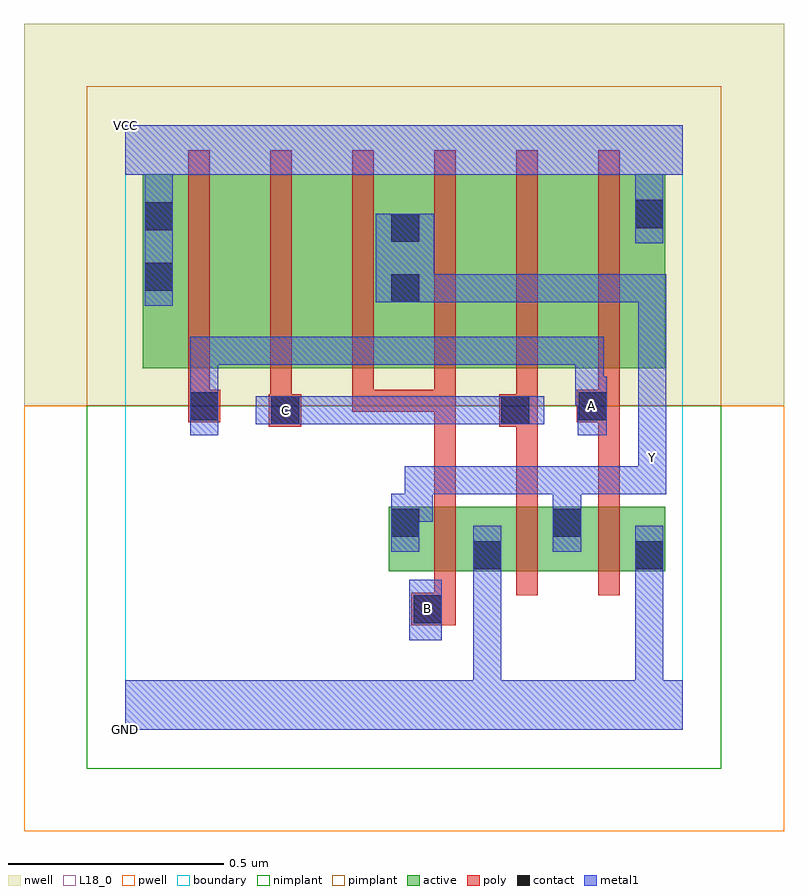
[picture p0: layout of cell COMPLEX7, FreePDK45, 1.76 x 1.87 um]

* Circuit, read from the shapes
.subckt COMPLEX7 A B C GND VCC Y
M1 GND B Y VSUBS nfet w=0.15u l=0.05u
M2 Y C GND VSUBS nfet w=0.15u l=0.05u
M3 GND A Y VSUBS nfet w=0.15u l=0.05u
M4 n1 A VCC n2 pfet w=0.45u l=0.05u
M5 n3 C n1 n2 pfet w=0.45u l=0.05u
M6 Y B n3 n2 pfet w=0.45u l=0.05u
M7 n4 B Y n2 pfet w=0.45u l=0.05u
M8 n5 C n4 n2 pfet w=0.45u l=0.05u
M9 VCC A n5 n2 pfet w=0.45u l=0.05u
.ends

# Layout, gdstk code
import gdstk
lib = gdstk.Library(unit=1e-6, precision=1e-09)
def R(c, l, rs):  # rectangles x0, y0, x1, y1
    for r in rs: c.add(gdstk.rectangle(r[:2], r[2:], *l))
def A(c, l, x, y, w, h, nx, ny, dx, dy):  # array of equal rectangles
    R(c, l, [(x+i*dx, y+j*dy, x+i*dx+w, y+j*dy+h) for i in range(nx) for j in range(ny)])
active = (1, 0)
pwell = (2, 0)
nwell = (3, 0)
nimplant = (4, 0)
pimplant = (5, 0)
poly = (9, 0)
contact = (10, 0)
metal1 = (11, 0)
L18_0 = (18, 0)
boundary = (235, 0)

complex7 = lib.new_cell('COMPLEX7')
R(complex7, active, [(0.61,0.367,0.685,0.517), (0.61,0.367,0.875,0.517), (0.8,0.367,1.06,0.517), (0.8,0.367,0.875,0.442), (0.985,0.367,1.06,0.517), (0.985,0.367,1.25,0.517), (1.175,0.367,1.25,0.517), (0.04,0.837,0.265,1.287), (0.04,0.837,0.115,1.255), (0.265,0.837,0.455,1.287), (0.455,0.837,0.685,1.287), (0.61,0.837,0.835,1.287), (0.835,0.837,1.025,1.287), (1.025,0.837,1.25,1.287), (1.175,0.837,1.25,1.287), (0.61,0.857,0.685,1.2)])
R(complex7, pwell, [(-0.235,-0.235,1.525,0.75)])
R(complex7, nwell, [(-0.235,0.75,1.525,1.635)])
R(complex7, nimplant, [(-0.09,-0.09,1.38,0.75)])
R(complex7, pimplant, [(-0.09,0.75,1.38,1.49)])
A(complex7, poly, 0.715, 0.312, 0.05, 0.26, 3, 1, 0.19, 0)
A(complex7, poly, 0.145, 0.782, 0.05, 0.56, 6, 1, 0.19, 0)
R(complex7, poly, [(0.662,0.242,0.765,0.317), (0.715,0.267,0.765,0.362), (0.715,0.522,0.765,0.787), (0.905,0.522,0.955,0.752), (1.095,0.522,1.145,0.762), (0.332,0.702,0.407,0.777), (0.865,0.702,0.955,0.777), (0.145,0.712,0.22,0.787), (1.045,0.712,1.145,0.787), (0.335,0.727,0.385,0.832), (0.905,0.727,0.955,0.832), (0.145,0.737,0.195,0.832), (0.525,0.737,0.575,0.832), (0.525,0.737,0.765,0.787), (0.525,0.737,0.575,0.787), (0.525,0.737,0.575,0.787), (0.525,0.737,0.575,0.787), (0.715,0.737,0.765,0.832), (0.715,0.737,0.765,0.787), (1.095,0.737,1.145,0.832)])
R(complex7, contact, [(0.667,0.247,0.732,0.312), (0.805,0.372,0.87,0.437), (1.18,0.372,1.245,0.437), (0.615,0.447,0.68,0.512), (0.99,0.447,1.055,0.512), (0.337,0.707,0.402,0.772), (0.87,0.707,0.935,0.772), (0.15,0.717,0.215,0.782), (1.05,0.717,1.115,0.782), (0.615,0.99,0.68,1.055), (0.045,1.017,0.11,1.082), (0.615,1.13,0.68,1.195), (0.045,1.157,0.11,1.222), (1.18,1.162,1.245,1.227)])
R(complex7, metal1, [(0,0,1.29,0.115), (0.805,0.05,0.87,0.115), (0.805,0.05,0.87,0.115), (0.805,0.05,0.87,0.115), (0.805,0.05,0.87,0.115), (0.805,0.05,0.87,0.402), (1.18,0.05,1.245,0.115), (1.18,0.05,1.245,0.115), (1.18,0.05,1.245,0.115), (1.18,0.05,1.245,0.115), (1.18,0.05,1.245,0.402), (0.657,0.207,0.732,0.347), (0.805,0.337,0.87,0.472), (0.805,0.337,0.87,0.402), (0.805,0.337,0.87,0.402), (1.18,0.337,1.245,0.472), (1.18,0.337,1.245,0.402), (1.18,0.337,1.245,0.402), (0.615,0.412,0.68,0.547), (0.99,0.412,1.055,0.61), (0.615,0.482,0.712,0.547), (0.647,0.482,0.712,0.61), (0.647,0.545,0.87,0.61), (0.805,0.545,0.87,0.61), (0.805,0.545,0.87,0.61), (0.805,0.545,0.87,0.61), (0.805,0.545,1.055,0.61), (0.99,0.545,1.145,0.61), (1.08,0.545,1.145,0.61), (1.08,0.545,1.252,0.61), (1.187,0.545,1.252,0.61), (1.187,0.545,1.252,0.61), (1.187,0.545,1.252,0.697), (1.187,0.632,1.252,1.055), (1.187,0.632,1.252,0.697), (1.187,0.632,1.252,0.697), (0.15,0.682,0.215,0.817), (1.047,0.682,1.115,0.817), (0.302,0.707,0.437,0.772), (0.372,0.707,0.437,0.772), (0.372,0.707,0.437,0.772), (0.372,0.707,0.575,0.772), (0.51,0.707,0.575,0.772), (0.51,0.707,0.575,0.772), (0.51,0.707,0.575,0.772), (0.51,0.707,0.712,0.772), (0.647,0.707,0.712,0.772), (0.647,0.707,0.9,0.772), (0.835,0.707,0.9,0.772), (0.835,0.707,0.9,0.772), (0.835,0.707,0.97,0.772), (0.15,0.752,0.215,0.817), (0.15,0.752,0.215,0.817), (0.15,0.752,0.215,0.91), (1.042,0.752,1.107,0.817), (1.042,0.752,1.112,0.817), (1.042,0.752,1.107,0.91), (0.15,0.845,0.215,0.91), (0.15,0.845,0.437,0.91), (0.372,0.845,0.437,0.91), (0.372,0.845,0.437,0.91), (0.372,0.845,0.437,0.91), (0.372,0.845,0.575,0.91), (0.51,0.845,0.575,0.91), (0.51,0.845,0.712,0.91), (0.647,0.845,0.712,0.91), (0.647,0.845,0.712,0.91), (0.647,0.845,0.712,0.91), (0.647,0.845,0.87,0.91), (0.805,0.845,0.87,0.91), (0.805,0.845,0.87,0.91), (0.805,0.845,0.87,0.91), (0.805,0.845,1.107,0.91), (1.042,0.845,1.107,0.91), (0.045,0.982,0.11,1.257), (0.58,0.99,0.715,1.195), (0.65,0.99,0.715,1.055), (0.65,0.99,0.715,1.055), (0.65,0.99,0.917,1.055), (0.852,0.99,0.917,1.055), (0.852,0.99,0.917,1.055), (0.852,0.99,0.917,1.055), (0.852,0.99,1.107,1.055), (1.042,0.99,1.252,1.055), (1.042,0.99,1.107,1.055), (1.042,0.99,1.107,1.055), (1.042,0.99,1.107,1.055), (1.187,0.99,1.252,1.055), (1.18,1.127,1.245,1.262), (0.045,1.192,0.11,1.35), (1.18,1.197,1.245,1.35), (0,1.285,1.29,1.4)])
R(complex7, L18_0, [(0,0,1.29,0.115), (0.805,0.05,0.87,0.115), (0.805,0.05,0.87,0.115), (0.805,0.05,0.87,0.115), (0.805,0.05,0.87,0.115), (0.805,0.05,0.87,0.402), (1.18,0.05,1.245,0.115), (1.18,0.05,1.245,0.115), (1.18,0.05,1.245,0.115), (1.18,0.05,1.245,0.115), (1.18,0.05,1.245,0.402), (0.657,0.207,0.732,0.347), (0.667,0.247,0.732,0.312), (0.805,0.337,0.87,0.472), (0.805,0.337,0.87,0.402), (0.805,0.337,0.87,0.402), (1.18,0.337,1.245,0.472), (1.18,0.337,1.245,0.402), (1.18,0.337,1.245,0.402), (0.615,0.412,0.68,0.547), (0.99,0.412,1.055,0.61), (0.615,0.482,0.712,0.547), (0.647,0.482,0.712,0.61), (0.647,0.545,0.87,0.61), (0.805,0.545,0.87,0.61), (0.805,0.545,0.87,0.61), (0.805,0.545,0.87,0.61), (0.805,0.545,1.055,0.61), (0.99,0.545,1.145,0.61), (1.08,0.545,1.145,0.61), (1.08,0.545,1.252,0.61), (1.187,0.545,1.252,0.61), (1.187,0.545,1.252,0.61), (1.187,0.545,1.252,0.697), (1.187,0.597,1.252,0.662), (1.187,0.632,1.252,0.697), (1.187,0.632,1.252,0.697), (1.187,0.632,1.252,1.055), (0.15,0.682,0.215,0.817), (1.047,0.682,1.115,0.817), (0.302,0.707,0.437,0.772), (0.337,0.707,0.402,0.772), (0.372,0.707,0.437,0.772), (0.372,0.707,0.437,0.772), (0.372,0.707,0.575,0.772), (0.51,0.707,0.575,0.772), (0.51,0.707,0.575,0.772), (0.51,0.707,0.575,0.772), (0.51,0.707,0.712,0.772), (0.647,0.707,0.712,0.772), (0.647,0.707,0.9,0.772), (0.835,0.707,0.9,0.772), (0.835,0.707,0.9,0.772), (0.835,0.707,0.97,0.772), (1.047,0.717,1.112,0.782), (0.15,0.752,0.215,0.91), (0.15,0.752,0.215,0.817), (0.15,0.752,0.215,0.817), (1.042,0.752,1.107,0.91), (1.042,0.752,1.107,0.817), (1.042,0.752,1.112,0.817), (0.15,0.845,0.215,0.91), (0.15,0.845,0.437,0.91), (0.372,0.845,0.437,0.91), (0.372,0.845,0.437,0.91), (0.372,0.845,0.437,0.91), (0.372,0.845,0.575,0.91), (0.51,0.845,0.575,0.91), (0.51,0.845,0.712,0.91), (0.647,0.845,0.712,0.91), (0.647,0.845,0.712,0.91), (0.647,0.845,0.712,0.91), (0.647,0.845,0.87,0.91), (0.805,0.845,0.87,0.91), (0.805,0.845,0.87,0.91), (0.805,0.845,0.87,0.91), (0.805,0.845,1.107,0.91), (1.042,0.845,1.107,0.91), (0.045,0.982,0.11,1.257), (0.58,0.99,0.715,1.195), (0.65,0.99,0.715,1.055), (0.65,0.99,0.715,1.055), (0.65,0.99,0.917,1.055), (0.852,0.99,0.917,1.055), (0.852,0.99,0.917,1.055), (0.852,0.99,0.917,1.055), (0.852,0.99,1.107,1.055), (1.042,0.99,1.107,1.055), (1.042,0.99,1.107,1.055), (1.042,0.99,1.107,1.055), (1.042,0.99,1.252,1.055), (1.187,0.99,1.252,1.055), (1.18,1.127,1.245,1.262), (0.045,1.192,0.11,1.35), (1.18,1.197,1.245,1.35), (0,1.285,1.29,1.4)])
R(complex7, boundary, [(0,0,1.29,1.4)])
complex7.add(gdstk.Label('A', (1.08,0.75), layer=11, texttype=0))
complex7.add(gdstk.Label('B', (0.7,0.28), layer=11, texttype=0))
complex7.add(gdstk.Label('C', (0.37,0.74), layer=11, texttype=0))
complex7.add(gdstk.Label('Y', (1.22,0.63), layer=11, texttype=0))
complex7.add(gdstk.Label('VCC', (0,1.4), layer=11, texttype=0))
complex7.add(gdstk.Label('GND', (0,0), layer=11, texttype=0))

lib.write_gds('COMPLEX7.gds')
